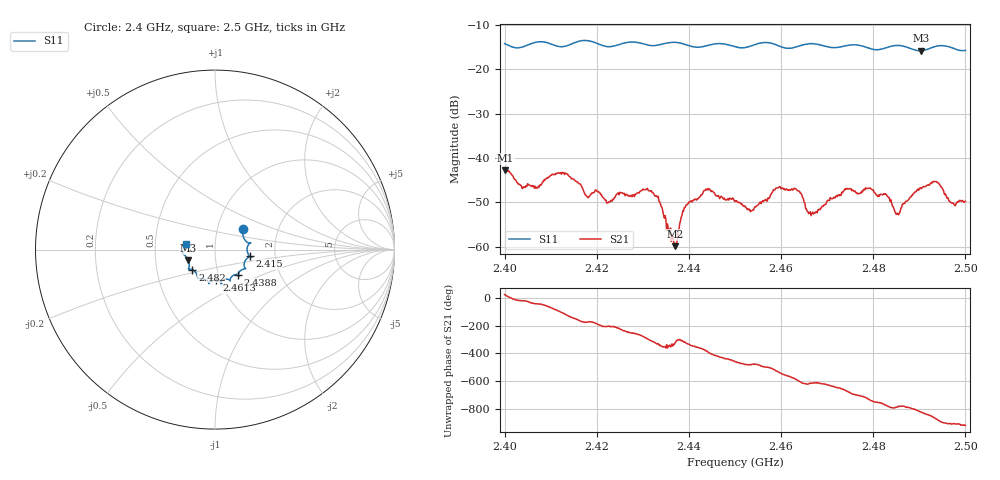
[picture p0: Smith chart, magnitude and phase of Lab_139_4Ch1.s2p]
# Hz S RI R 50
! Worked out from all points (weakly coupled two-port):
!   601 points, 2.4 GHz to 2.5 GHz, reference 50 ohm
!   highest |S21| = -42.74 dB at 2.4002 GHz (marker M1); lowest = -59.8 dB at 2.437 GHz (marker M2)
!   lowest |S11| = -15.9 dB at 2.4903 GHz (marker M3), VSWR 1.38, Z = 36.8 - j4.43 ohm
!   |S11| at or under -10 dB: start of sweep to end of sweep
!   S12 and S22 are empty: the file has one direction only
!   S11 on the Smith chart (normalised r, x): 2.4 GHz: 1.33, +0.31; 2.415 GHz: 1.47, -0.11; 2.4388 GHz: 1.24, -0.36; 2.4613 GHz: 0.96, -0.34; 2.482 GHz: 0.76, -0.17; 2.5 GHz: 0.72, +0.05
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2.4e9  0.1573 0.1123  0.00658 0.00292  0 0  0 0
2.400167e9  0.1568 0.1099  0.00682 0.00258  0 0  0 0
2.404e9  0.1711 0.0482  0.00442 -0.00164  0 0  0 0
2.415e9  0.1927 -0.0358  -0.00485 -0.00307  0 0  0 0
2.416667e9  0.2039 -0.0436  -0.00478 -0.000729  0 0  0 0
2.422333e9  0.1668 -0.0638  -0.00283 0.00138  0 0  0 0
2.433333e9  0.1324 -0.1313  0.00323 0.00183  0 0  0 0
2.437e9  0.1349 -0.1476  0.000839 0.000581  0 0  0 0
2.438833e9  0.1297 -0.1408  0.00189 0.0017  0 0  0 0
2.444e9  0.0851 -0.1632  0.00405 -0.00196  0 0  0 0
2.45e9  0.0686 -0.1646  -0.00056 -0.0032  0 0  0 0
2.4535e9  0.036 -0.1786  -0.00141 -0.00212  0 0  0 0
2.461333e9  0.00781 -0.1712  -0.004 0.00175  0 0  0 0
2.466667e9  -0.0345 -0.1901  -0.000522 0.00229  0 0  0 0
2.474333e9  -0.0895 -0.1609  0.00311 0.00325  0 0  0 0
2.482e9  -0.1262 -0.1117  0.00283 -0.00261  0 0  0 0
2.483333e9  -0.1398 -0.1088  0.00155 -0.00322  0 0  0 0
2.485333e9  -0.1491 -0.1086  0.00107 -0.00206  0 0  0 0
2.490333e9  -0.1494 -0.0587  -0.0012 -0.00448  0 0  0 0
2.493667e9  -0.1792 -0.0233  -0.00488 -0.0024  0 0  0 0
2.497333e9  -0.1714 -0.00772  -0.0031 0.00043  0 0  0 0
2.5e9  -0.159 0.0326  -0.00306 0.00118  0 0  0 0
